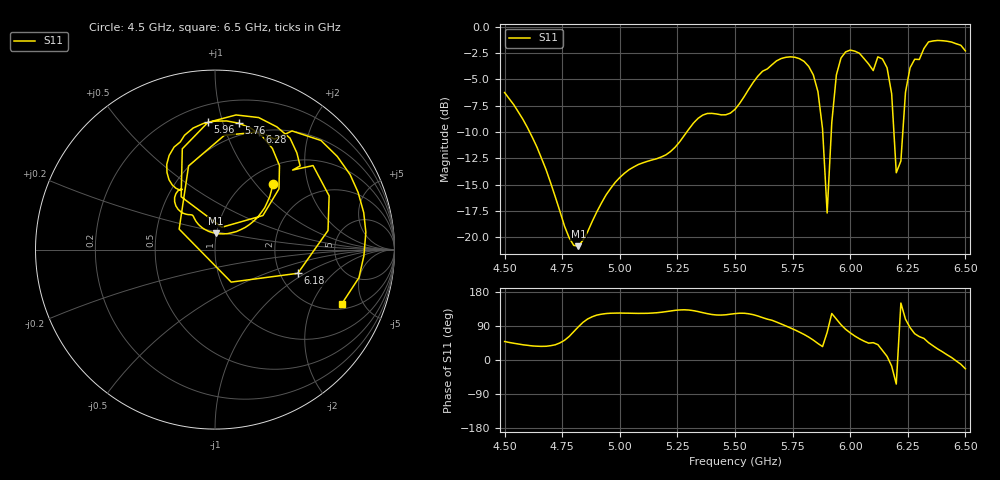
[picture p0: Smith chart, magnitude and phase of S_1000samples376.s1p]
! TOUCHSTONE file generated by CST MICROWAVE STUDIO
! Date and time: Thu Oct 27 23:07:59 2022
! Project name: L.cst
! Parameters = {Di=1.27; Epsilon_r=1.56; InnerDiameter=1.27; Length=2; Lf=10; Lg=60; OuterConductorThickness=0.2921; OuterDiameter=3.6; Wf=3; Wp=41.2; de=1.5; df=6.8; g=0.8; gx=2.5474; gy=1.80178; h=2.34; hf=1.524; px=14.8039; py=12.9771; w=9.7; wx=12.2565; wy=11.1753}
! Header version: 2018
! Port assignment regex: !\s*Touchstone port\s*([0-9]+)\s*=\s*(CST MWS port|CST DS port)\s*([0-9]+|Zmin|Zmax)\s*\(\"(.*)\"\)(\s*mode\s*([0-9]+))?.*
! Touchstone port assignment:
! Touchstone port 1 = CST MWS port 1 ("")
# GHz S DB R 50
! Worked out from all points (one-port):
!   101 points, 4.5 GHz to 6.5 GHz, reference 50 ohm
!   lowest |S11| = -20.9 dB at 4.82 GHz (marker M1), VSWR 1.20, Z = 49.6 + j9.04 ohm
!   |S11| at or under -10 dB: 4.609 GHz to 5.291 GHz (682.2 MHz wide, 13.8 % of centre); 5.881 GHz to 5.918 GHz (37.22 MHz wide, 0.631 % of centre); 6.19 GHz to 6.228 GHz (38.78 MHz wide, 0.625 % of centre)
!   S11 on the Smith chart (normalised r, x): 4.5 GHz: 1.28, +1.23; 5.76 GHz: 0.39, +1.13; 5.96 GHz: 0.31, +0.90; 6.18 GHz: 2.50, -0.86; 6.28 GHz: 0.51, +1.32; 6.5 GHz: 2.30, -3.40
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4.5  -6.25 48.8
4.64  -11.42 36.4
4.76  -18.96 52.0
4.82  -20.86 87.5
5  -14.33 123.9
5.26  -10.94 132.1
5.5  -7.85 122.5
5.6  -4.68 116.0
5.76  -2.89 79.4
5.86  -6.17 43.5
5.88  -9.70 35.4
5.9  -17.71 73.0
5.92  -9.13 122.6
5.96  -2.97 93.2
6  -2.22 71.7
6.08  -3.54 44.5
6.12  -2.86 40.6
6.16  -3.89 9.6
6.18  -6.37 -16.0
6.2  -13.88 -63.5
6.22  -12.76 150.3
6.24  -6.22 107.5
6.26  -3.89 85.3
6.28  -3.09 69.3
6.34  -1.44 45.8
6.4  -1.32 21.8
6.46  -1.62 -2.4
6.5  -2.29 -23.2
